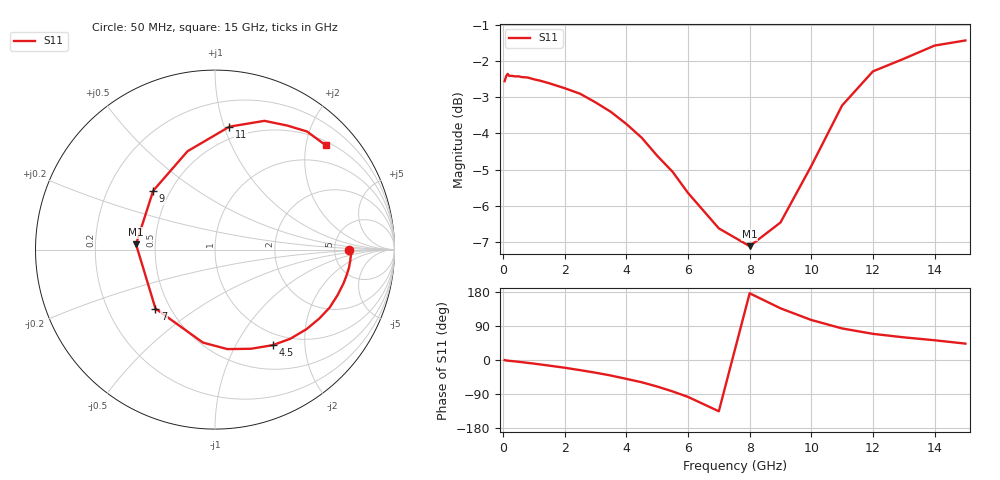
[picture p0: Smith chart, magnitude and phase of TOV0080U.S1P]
! SIEMENS Small Signal Semiconductors
! BAT15-03W
! Si Schottky Diode in SOD323
! IF = 0.08 mA
! S-Parameters:  May  1996
# GHz  S  MA  R  50
!  f  S11
! GHz  MAG  ANG
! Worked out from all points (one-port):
!   31 points, 50 MHz to 15 GHz, reference 50 ohm
!   lowest |S11| = -7.1 dB at 8 GHz (marker M1), VSWR 2.58, Z = 19.4 + j1.45 ohm
!   |S11| at or under -10 dB: nowhere
!   S11 on the Smith chart (normalised r, x): 50 MHz: 6.84, -0.08; 4.5 GHz: 0.83, -1.43; 7 GHz: 0.42, -0.35; 9 GHz: 0.40, +0.34; 11 GHz: 0.40, +1.04; 15 GHz: 0.58, +2.40
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0.05  0.7449 -0.2
0.1  0.7567 -1.3
0.15  0.7623 -1.5
0.2  0.7574 -2.3
0.3  0.7574 -2.9
0.5  0.7565 -4.8
0.6  0.7547 -5.6
0.8  0.7536 -7.6
1.2  0.7461 -11.6
1.5  0.7399 -14.9
2  0.7285 -20.4
2.5  0.7157 -26.8
3  0.6964 -33.5
3.5  0.6756 -41.0
4  0.6502 -49.8
4.5  0.6223 -58.8
5  0.5878 -70.0
5.5  0.5587 -82.9
6  0.5224 -97.4
7  0.4668 -135.3
8  0.4411 176.1
9  0.4755 136.4
10  0.569 105.6
11  0.6896 83.3
12  0.7684 69.0
13  0.7997 59.8
14  0.834 52.1
15  0.8477 43.2
